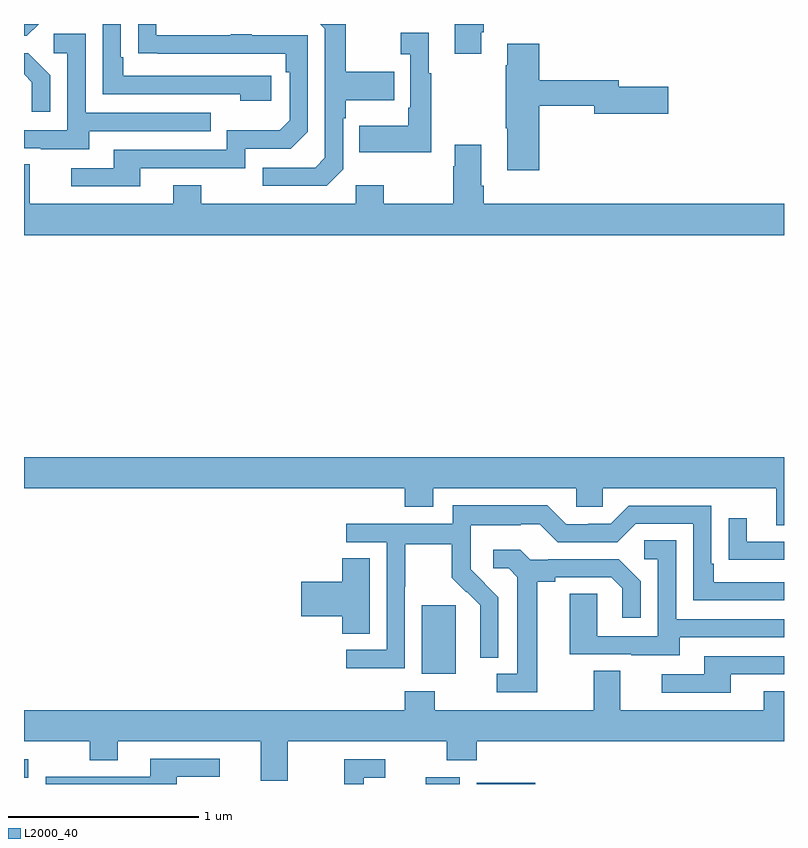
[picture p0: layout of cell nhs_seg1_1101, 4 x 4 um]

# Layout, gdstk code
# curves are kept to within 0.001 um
import gdstk
lib = gdstk.Library(unit=1e-6, precision=1e-09)
def R(c, l, rs):  # rectangles x0, y0, x1, y1
    for r in rs: c.add(gdstk.rectangle(r[:2], r[2:], *l))
def P(c, l, *ps):  # polygons
    for p in ps: c.add(gdstk.Polygon(p, *l))
L2000_40 = (2000, 40)

nhs_seg1_1101 = lib.new_cell('nhs_seg1_1101')
R(nhs_seg1_1101, L2000_40, [(173.114,526.199,173.293,526.234), (173.382,526.199,173.692,526.206), (171,526.233,171.022,526.329), (173.093,526.778,173.272,527.139)])
P(nhs_seg1_1101, L2000_40, [(172.3,529.926),(171.523,529.926),(171.523,530.023),(171.51,530.023),(171.51,530.199),(171.414,530.199),(171.414,529.83),(172.139,529.83),(172.139,529.796),(172.3,529.796)],
  [(173.407,530.155),(173.42,530.155),(173.42,530.199),(173.267,530.199),(173.267,530.043),(173.407,530.043)],
  [(171.078,530.199),(171,530.199),(171,530.136),(171.015,530.136)],
  [(172.68,529.434),(172.68,529.703),(172.693,529.703),(172.693,529.799),(172.949,529.799),(172.949,529.947),(172.693,529.947),(172.693,530.199),(172.56,530.199),(172.584,530.175),(172.584,529.494),(172.533,529.443),(172.257,529.443),(172.257,529.347),(172.593,529.347)],
  [(171.613,529.44),(172.164,529.44),(172.164,529.542),(172.404,529.542),(172.494,529.632),(172.494,530.139),(172.199,530.139),(172.199,530.144),(172.087,530.144),(172.087,530.139),(171.697,530.139),(171.697,530.199),(171.601,530.199),(171.601,530.044),(172.378,530.043),(172.378,529.946),(172.398,529.946),(172.398,529.692),(172.345,529.639),(172.068,529.639),(172.068,529.536),(171.473,529.536),(171.473,529.44),(171.249,529.44),(171.249,529.344),(171.613,529.344)],
  [(173.143,529.939),(173.131,529.939),(173.131,530.152),(172.983,530.152),(172.983,530.039),(173.034,530.039),(173.034,529.759),(173.022,529.759),(173.022,529.663),(172.765,529.663),(172.765,529.523),(173.143,529.523)],
  [(171.343,529.635),(171.983,529.635),(171.983,529.731),(171.324,529.731),(171.324,530.147),(171.156,530.147),(171.156,530.046),(171.228,530.046),(171.228,529.641),(171,529.641),(171,529.545),(171.089,529.545),(171.089,529.541),(171.343,529.541)],
  [(173.711,529.768),(174.002,529.768),(174.002,529.726),(174.391,529.726),(174.391,529.868),(174.13,529.868),(174.13,529.904),(173.711,529.904),(173.711,530.095),(173.543,530.095),(173.543,529.982),(173.536,529.982),(173.536,529.651),(173.543,529.651),(173.543,529.428),(173.711,529.428)],
  [(171.138,529.93),(171.022,530.046),(171,530.046),(171,529.934),(171.041,529.893),(171.041,529.737),(171.138,529.737)],
  [(175,529.252),(173.42,529.252),(173.42,529.348),(173.407,529.348),(173.407,529.564),(173.267,529.564),(173.267,529.451),(173.26,529.451),(173.26,529.252),(172.893,529.252),(172.893,529.351),(172.746,529.351),(172.746,529.252),(171.933,529.252),(171.933,529.351),(171.785,529.351),(171.785,529.252),(171.031,529.252),(171.031,529.46),(171,529.46),(171,529.088),(175,529.088)],
  [(175,527.92),(171,527.92),(171,527.756),(173.003,527.756),(173.003,527.657),(173.155,527.657),(173.155,527.756),(173.907,527.756),(173.907,527.658),(174.045,527.658),(174.045,527.756),(174.959,527.756),(174.959,527.562),(175,527.562)],
  [(173.004,527.236),(173.007,527.236),(173.007,527.46),(173.251,527.46),(173.251,527.285),(173.328,527.208),(173.331,527.211),(173.402,527.141),(173.402,527.018),(173.4,527.018),(173.4,526.864),(173.496,526.864),(173.496,527.182),(173.35,527.33),(173.35,527.427),(173.352,527.427),(173.352,527.561),(173.615,527.561),(173.615,527.565),(173.715,527.565),(173.808,527.472),(174.123,527.472),(174.219,527.568),(174.522,527.568),(174.522,527.166),(175,527.166),(175,527.262),(174.631,527.262),(174.631,527.359),(174.618,527.359),(174.618,527.664),(174.183,527.664),(174.087,527.568),(173.969,527.568),(173.969,527.565),(173.853,527.565),(173.753,527.665),(173.256,527.665),(173.256,527.568),(172.695,527.568),(172.695,527.472),(172.908,527.472),(172.908,526.905),(172.695,526.905),(172.695,526.807),(173.004,526.807)],
  [(175,527.475),(174.805,527.475),(174.805,527.599),(174.709,527.599),(174.709,527.38),(174.811,527.38),(174.811,527.379),(175,527.379)],
  [(174.451,526.971),(175,526.971),(175,527.067),(174.432,527.067),(174.432,527.483),(174.264,527.483),(174.264,527.382),(174.336,527.382),(174.336,526.977),(174.018,526.977),(174.018,527.201),(173.873,527.201),(173.873,526.881),(174.197,526.881),(174.197,526.877),(174.451,526.877)],
  [(173.701,527.264),(173.797,527.264),(173.797,527.286),(174.092,527.286),(174.149,527.229),(174.149,527.073),(174.246,527.073),(174.246,527.266),(174.13,527.382),(173.758,527.382),(173.758,527.379),(173.664,527.379),(173.612,527.431),(173.469,527.431),(173.469,527.334),(173.55,527.334),(173.597,527.287),(173.597,526.779),(173.487,526.779),(173.487,526.683),(173.701,526.683)],
  [(172.819,527.387),(172.676,527.387),(172.676,527.264),(172.458,527.264),(172.458,527.081),(172.676,527.081),(172.676,526.99),(172.819,526.99)],
  [(174.721,526.776),(175,526.776),(175,526.872),(174.581,526.872),(174.581,526.776),(174.357,526.776),(174.357,526.68),(174.721,526.68)],
  [(172.387,526.424),(173.224,526.424),(173.224,526.325),(173.384,526.325),(173.384,526.424),(175,526.424),(175,526.687),(174.893,526.687),(174.893,526.588),(174.139,526.588),(174.139,526.796),(173.999,526.796),(173.999,526.588),(173.163,526.588),(173.163,526.687),(173.003,526.687),(173.003,526.588),(171,526.588),(171,526.424),(171.346,526.424),(171.346,526.325),(171.493,526.325),(171.493,526.424),(172.247,526.424),(172.247,526.216),(172.387,526.216)],
  [(171.805,526.236),(172.03,526.236),(172.03,526.332),(171.665,526.332),(171.665,526.236),(171.114,526.236),(171.114,526.199),(171.805,526.199)],
  [(172.789,526.233),(172.9,526.233),(172.9,526.329),(172.685,526.329),(172.685,526.199),(172.789,526.199)])

lib.write_gds('nhs_seg1_1101.gds')
